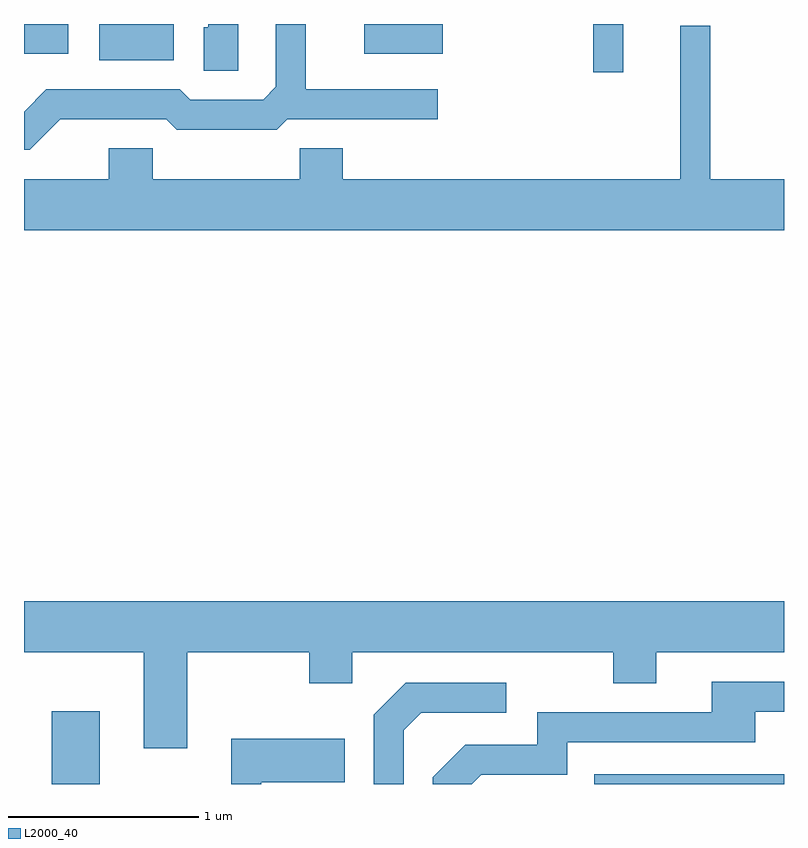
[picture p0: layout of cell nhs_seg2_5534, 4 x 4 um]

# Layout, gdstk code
import gdstk
lib = gdstk.Library(unit=1e-6, precision=1e-09)
def R(c, l, rs):  # rectangles x0, y0, x1, y1
    for r in rs: c.add(gdstk.rectangle(r[:2], r[2:], *l))
def P(c, l, *ps):  # polygons
    for p in ps: c.add(gdstk.Polygon(p, *l))
L2000_40 = (2000, 40)

nhs_seg2_5534 = lib.new_cell('nhs_seg2_5534')
R(nhs_seg2_5534, L2000_40, [(347.756,1089.802,348.009,1090.184), (350.613,1089.802,351.611,1089.854), (350.606,1093.548,350.764,1093.802), (348.006,1093.611,348.399,1093.802), (347.611,1093.646,347.844,1093.802), (349.401,1093.646,349.814,1093.802)])
P(nhs_seg2_5534, L2000_40, [(347.802,1093.301),(348.359,1093.301),(348.414,1093.246),(348.942,1093.246),(348.997,1093.301),(349.788,1093.301),(349.788,1093.459),(349.094,1093.459),(349.094,1093.802),(348.936,1093.802),(348.936,1093.472),(348.869,1093.404),(348.487,1093.404),(348.432,1093.459),(347.729,1093.459),(347.611,1093.341),(347.611,1093.141),(347.642,1093.141)],
  [(348.739,1093.802),(348.581,1093.802),(348.581,1093.784),(348.556,1093.784),(348.556,1093.556),(348.739,1093.556)],
  [(351.611,1092.984),(351.224,1092.984),(351.224,1093.793),(351.066,1093.793),(351.066,1092.984),(349.289,1092.984),(349.289,1093.149),(349.061,1093.149),(349.061,1092.984),(348.289,1092.984),(348.289,1093.149),(348.056,1093.149),(348.056,1092.984),(347.611,1092.984),(347.611,1092.716),(351.611,1092.716)],
  [(348.469,1090.496),(349.111,1090.496),(349.111,1090.331),(349.339,1090.331),(349.339,1090.496),(350.711,1090.496),(350.711,1090.331),(350.939,1090.331),(350.939,1090.496),(351.611,1090.496),(351.611,1090.764),(347.611,1090.764),(347.611,1090.496),(348.241,1090.496),(348.241,1089.991),(348.469,1089.991)],
  [(350.017,1089.851),(350.469,1089.851),(350.469,1090.021),(351.459,1090.021),(351.459,1090.181),(351.611,1090.181),(351.611,1090.339),(351.231,1090.339),(351.231,1090.179),(350.311,1090.179),(350.311,1090.009),(349.934,1090.009),(349.761,1089.837),(349.761,1089.802),(349.967,1089.802)],
  [(349.609,1090.084),(349.702,1090.176),(350.148,1090.176),(350.148,1090.334),(349.619,1090.334),(349.451,1090.167),(349.451,1089.802),(349.609,1089.802)],
  [(348.859,1089.811),(349.299,1089.811),(349.299,1090.039),(348.701,1090.039),(348.701,1089.802),(348.859,1089.802)])

lib.write_gds('nhs_seg2_5534.gds')
